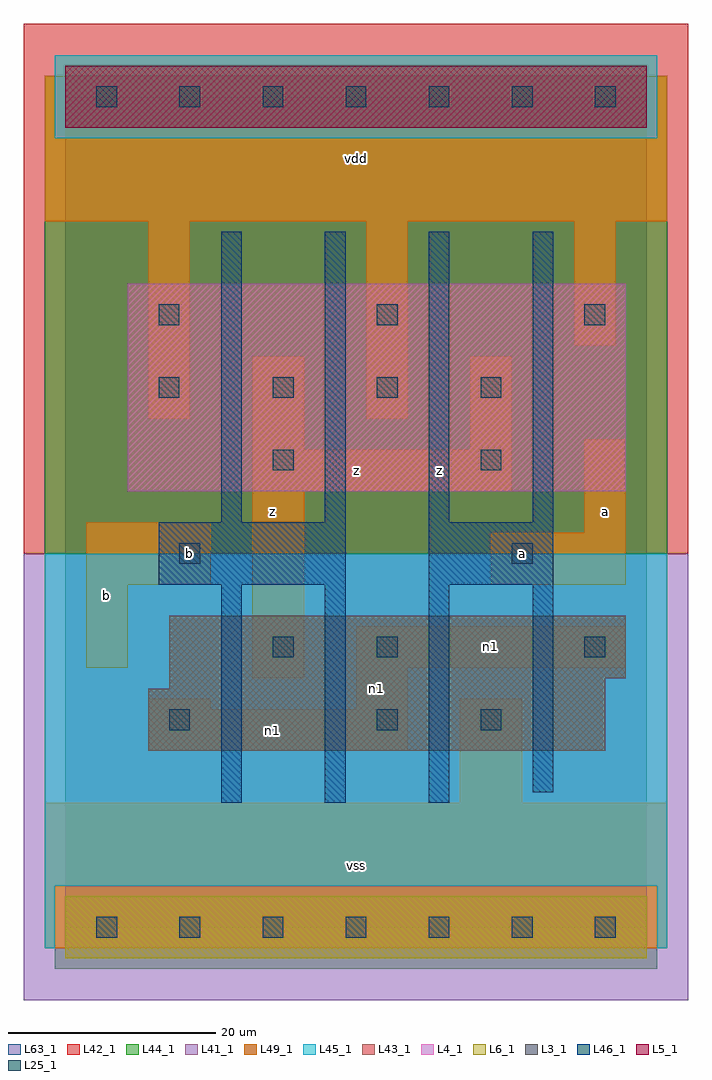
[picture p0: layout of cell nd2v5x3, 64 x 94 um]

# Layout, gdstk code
import gdstk
lib = gdstk.Library(unit=1e-6, precision=1e-09)
def R(c, l, rs):  # rectangles x0, y0, x1, y1
    for r in rs: c.add(gdstk.rectangle(r[:2], r[2:], *l))
def A(c, l, x, y, w, h, nx, ny, dx, dy):  # array of equal rectangles
    R(c, l, [(x+i*dx, y+j*dy, x+i*dx+w, y+j*dy+h) for i in range(nx) for j in range(ny)])
L3_1 = (3, 1)
L4_1 = (4, 1)
L5_1 = (5, 1)
L6_1 = (6, 1)
L25_1 = (25, 1)
L41_1 = (41, 1)
L42_1 = (42, 1)
L43_1 = (43, 1)
L44_1 = (44, 1)
L45_1 = (45, 1)
L46_1 = (46, 1)
L49_1 = (49, 1)
L63_1 = (63, 1)

nd2v5x3 = lib.new_cell('nd2v5x3')
R(nd2v5x3, L3_1, [(8,17,52,23), (10,23,52,24), (10,24,54,30)])
R(nd2v5x3, L4_1, [(6,42,54,62)])
R(nd2v5x3, L5_1, [(0,77,56,83)])
R(nd2v5x3, L6_1, [(0,-3,56,3), (0,-3,56,3)])
A(nd2v5x3, L25_1, 3, -1, 2, 2, 7, 2, 8, 80)
A(nd2v5x3, L25_1, 20, 51, 2, 2, 3, 1, 10, 0)
R(nd2v5x3, L25_1, [(10,19,12,21), (30,19,32,21), (40,19,42,21), (20,26,22,28), (30,26,32,28), (50,26,52,28), (11,35,13,37), (43,35,45,37), (20,44,22,46), (40,44,42,46), (9,51,11,53), (9,58,11,60), (30,58,32,60), (50,58,52,60)])
R(nd2v5x3, L41_1, [(-4,-7,60,36)])
R(nd2v5x3, L42_1, [(-4,36,60,87)])
R(nd2v5x3, L43_1, [(0,-3,56,3), (8,17,52,23), (10,23,52,24), (10,24,54,30), (6,42,54,62), (0,77,56,83)])
R(nd2v5x3, L44_1, [(-1,-4,57,4), (-2,36,58,76), (-2,76,-1,82), (57,76,58,82)])
R(nd2v5x3, L45_1, [(-2,-2,-1,4), (57,-2,58,4), (-2,4,58,36), (-1,76,57,84)])
A(nd2v5x3, L46_1, 15, 12, 2, 21, 3, 1, 10, 0)
A(nd2v5x3, L46_1, 15, 39, 2, 28, 4, 1, 10, 0)
R(nd2v5x3, L46_1, [(45,13,47,33), (9,33,27,39), (35,33,47,39)])
R(nd2v5x3, L49_1, [(-2,-2,58,12), (38,12,44,22), (8,17,33,21), (8,21,14,22), (28,21,33,25), (18,24,23,42), (2,25,6,33), (28,25,54,29), (2,33,14,39), (41,33,54,38), (50,38,54,47), (18,42,43,46), (18,46,23,55), (39,46,43,55), (8,49,12,68), (29,49,33,68), (49,56,53,68), (-2,68,58,82)])
R(nd2v5x3, L63_1, [(0,0,56,80)])
nd2v5x3.add(gdstk.Label('b', (4,32), layer=49, texttype=1))
nd2v5x3.add(gdstk.Label('b', (12,36), layer=49, texttype=1))
nd2v5x3.add(gdstk.Label('z', (20,40), layer=49, texttype=1))
nd2v5x3.add(gdstk.Label('vss', (28,6), layer=49, texttype=1))
nd2v5x3.add(gdstk.Label('n1', (30,23), layer=49, texttype=1))
nd2v5x3.add(gdstk.Label('n1', (20,19), layer=49, texttype=1))
nd2v5x3.add(gdstk.Label('z', (36,44), layer=49, texttype=1))
nd2v5x3.add(gdstk.Label('z', (28,44), layer=49, texttype=1))
nd2v5x3.add(gdstk.Label('vdd', (28,74), layer=49, texttype=1))
nd2v5x3.add(gdstk.Label('a', (44,36), layer=49, texttype=1))
nd2v5x3.add(gdstk.Label('n1', (41,27), layer=49, texttype=1))
nd2v5x3.add(gdstk.Label('a', (52,40), layer=49, texttype=1))

lib.write_gds('nd2v5x3.gds')
